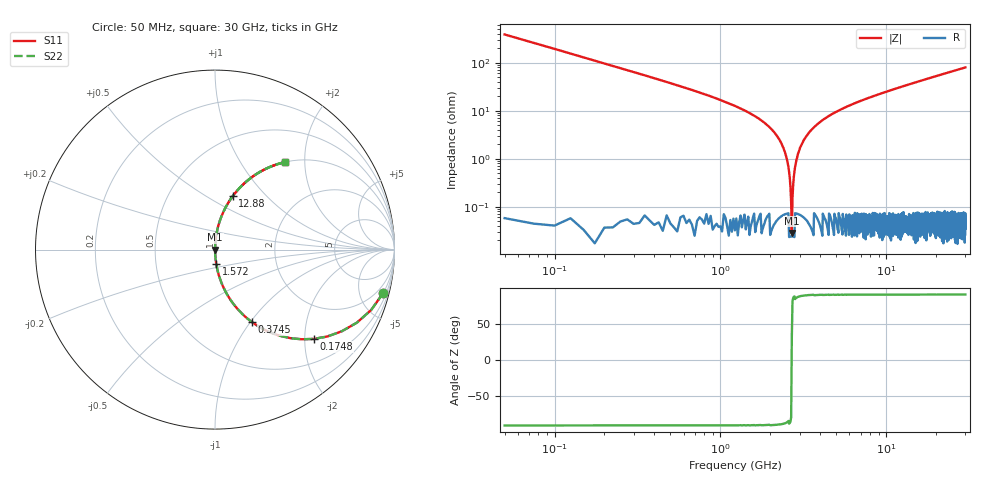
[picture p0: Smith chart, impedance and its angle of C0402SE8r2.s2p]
!	AVX Thin Film Operation 	Date: April 2014
!	Description: Accu-P® Series, Thin Film  SMD RF Capacitor
!	Part Number: 04025J8R2BBSTR
# MHZ S MA R 50
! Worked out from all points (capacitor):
!   1201 points, 50 MHz to 30 GHz, reference 50 ohm
!   read as one part in series: C = 8.2 pF near 199.8 MHz
!   lowest |Z| = 28.2 mohm at 2.696 GHz (marker M1)
!   series resonance near 2.693 GHz, so ESL is about 430 pH
!   S11 on the Smith chart (normalised r, x): 50 MHz: 1.01, -7.76; 174.8 MHz: 1.00, -2.21; 374.5 MHz: 1.00, -1.02; 1.572 GHz: 1.00, -0.16; 12.88 GHz: 1.00, +0.66; 30 GHz: 1.00, +1.59
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50  0.968 -14.4  0.25 75.5  0.25 75.5  0.968 -14.4
174.792  0.742 -42.1  0.671 47.9  0.671 47.9  0.742 -42.1
374.458  0.453 -63.0  0.891 26.9  0.891 26.9  0.453 -63.0
723.875  0.241 -75.9  0.97 14.0  0.97 14.0  0.241 -75.9
1572.458  0.081 -85.0  0.996 4.6  0.996 4.6  0.081 -85.0
2271.292  0.025 -87.5  0.999 1.4  0.999 1.4  0.025 -87.5
2446  0.014 -87.2  0.999 0.8  0.999 0.8  0.014 -87.2
2595.75  0.005313 -84.5  1 0.3  1 0.3  0.005313 -84.5
2695.583  0.000502 17.1  1 -0.0  1 -0.0  0.000502 17.1
2795.417  0.00541 84.6  1 -0.3  1 -0.3  0.00541 84.6
2895.25  0.01 86.8  0.999 -0.6  0.999 -0.6  0.01 86.8
2995.083  0.015 87.3  0.999 -0.9  0.999 -0.9  0.015 87.3
3319.542  0.03 87.4  0.999 -1.7  0.999 -1.7  0.03 87.4
4043.333  0.06 86.1  0.998 -3.4  0.998 -3.4  0.06 86.1
5041.667  0.096 84.2  0.995 -5.5  0.995 -5.5  0.096 84.2
6988.417  0.157 80.8  0.987 -9.0  0.987 -9.0  0.157 80.8
10058.29  0.242 75.9  0.97 -14.0  0.97 -14.0  0.242 75.9
12878.58  0.313 71.7  0.949 -18.2  0.949 -18.2  0.313 71.7
15025  0.363 68.7  0.932 -21.3  0.932 -21.3  0.363 68.7
20016.67  0.465 62.2  0.885 -27.7  0.885 -27.7  0.465 62.2
25033.29  0.552 56.5  0.833 -33.5  0.833 -33.5  0.552 56.5
30000  0.623 51.4  0.782 -38.5  0.782 -38.5  0.623 51.4
